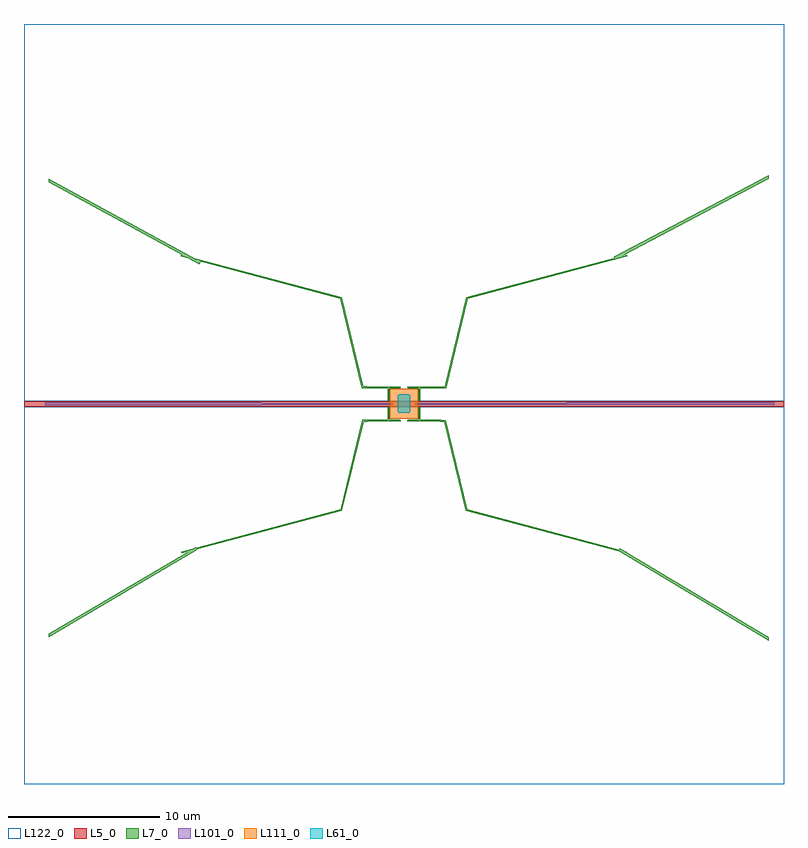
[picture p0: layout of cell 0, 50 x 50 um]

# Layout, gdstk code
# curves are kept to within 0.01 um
import gdstk
lib = gdstk.Library(unit=1e-6, precision=1e-09)
def R(c, l, rs):  # rectangles x0, y0, x1, y1
    for r in rs: c.add(gdstk.rectangle(r[:2], r[2:], *l))
def P(c, l, *ps):  # polygons
    for p in ps: c.add(gdstk.Polygon(p, *l))
L5_0 = (5, 0)
L7_0 = (7, 0)
L61_0 = (61, 0)
L101_0 = (101, 0)
L111_0 = (111, 0)
L122_0 = (122, 0)

c_0 = lib.new_cell('0')
R(c_0, L5_0, [(-25,-0.195,25,0.195)])
P(c_0, L7_0, [(0.267,-1.149),(0.238,-1.133),(0.225,-1.102),(0.235,-1.068),(0.266,-1.049),(0.892,-1.049),(0.948,-1.021),(0.976,-0.965),(0.976,-0.267),(0.996,-0.236),(1.032,-0.226),(1.062,-0.241),(1.076,-0.269),(1.076,-0.965),(1.104,-1.021),(1.13,-1.039),(2.439,-1.049),(2.481,-1.091),(2.467,-1.135),(2.439,-1.149)],
  [(-2.439,-1.149),(-2.481,-1.107),(-2.467,-1.063),(-2.439,-1.049),(-1.13,-1.039),(-1.104,-1.021),(-1.076,-0.965),(-1.076,-0.269),(-1.062,-0.241),(-1.032,-0.226),(-0.996,-0.236),(-0.976,-0.267),(-0.976,-0.965),(-0.948,-1.021),(-0.892,-1.049),(-0.266,-1.049),(-0.235,-1.068),(-0.225,-1.102),(-0.238,-1.133),(-0.267,-1.149)],
  [(1.032,0.227),(0.996,0.237),(0.976,0.268),(0.976,0.966),(0.948,1.022),(0.892,1.05),(0.266,1.05),(0.226,1.086),(0.229,1.12),(0.251,1.144),(2.439,1.15),(2.476,1.123),(2.476,1.077),(2.439,1.05),(1.13,1.04),(1.104,1.022),(1.076,0.966),(1.076,0.27),(1.062,0.242)],
  [(-1.031,0.227),(-1.058,0.238),(-1.076,0.272),(-1.076,1.05),(-2.481,1.05),(-2.481,1.15),(-0.27,1.15),(-0.243,1.139),(-0.227,1.085),(-0.27,1.05),(-0.976,1.05),(-0.976,0.272),(-0.994,0.238)],
  [(-23.369,-15.34),(-23.369,-15.108),(-13.716,-9.424),(-13.614,-9.596)],
  [(-13.476,9.186),(-23.369,14.587),(-23.369,14.816),(-13.38,9.362)],
  [(24.005,-15.583),(14.104,-9.661),(14.206,-9.489),(24.005,-15.349)],
  [(13.908,9.506),(13.814,9.684),(24.005,15.038),(24.005,14.811)])
P(c_0, L61_0, [(-0.306,-0.573),(-0.36,-0.551),(-0.396,-0.483),(-0.396,0.537),(-0.385,0.574),(-0.36,0.605),(-0.306,0.627),(0.314,0.627),(0.351,0.616),(0.382,0.591),(0.404,0.537),(0.404,-0.483),(0.393,-0.52),(0.368,-0.551),(0.314,-0.573)])
R(c_0, L101_0, [(-23.596,-0.094,-9.368,0.106)])
P(c_0, L101_0, [(24.343,-0.093),(10.674,-0.05),(10.674,0.15),(24.343,0.107)],
  [(-9.786,-0.051),(-9.786,0.049),(-0.749,0.049),(-0.722,0.038),(-0.704,0.004),(-0.715,-0.033),(-0.749,-0.051)],
  [(0.766,-0.051),(0.739,-0.04),(0.721,-0.006),(0.732,0.031),(0.766,0.049),(10.982,0.049),(10.982,-0.051)])
R(c_0, L111_0, [(-0.926,-0.965,0.936,1.018)])
R(c_0, L122_0, [(-25,-25,25,-0.195), (-25,0.195,25,25)])
c_0.add(gdstk.FlexPath([(-2.418,1.102),(-2.727,1.102),(-4.146,6.972),(-14.668,9.77)], 0.1, ends="flush", simple_path=True, layer=7, datatype=0))  # L7_0
c_0.add(gdstk.FlexPath([(2.415,1.096),(2.724,1.096),(4.143,6.966),(14.665,9.764)], 0.1, ends="flush", simple_path=True, layer=7, datatype=0))  # L7_0
c_0.add(gdstk.FlexPath([(-2.398,-1.102),(-2.702,-1.102),(-4.122,-6.973),(-14.644,-9.771)], 0.1, ends="flush", simple_path=True, layer=7, datatype=0))  # L7_0
c_0.add(gdstk.FlexPath([(2.367,-1.107),(2.696,-1.107),(4.115,-6.978),(14.637,-9.776)], 0.1, ends="flush", simple_path=True, layer=7, datatype=0))  # L7_0

lib.write_gds('0.gds')
